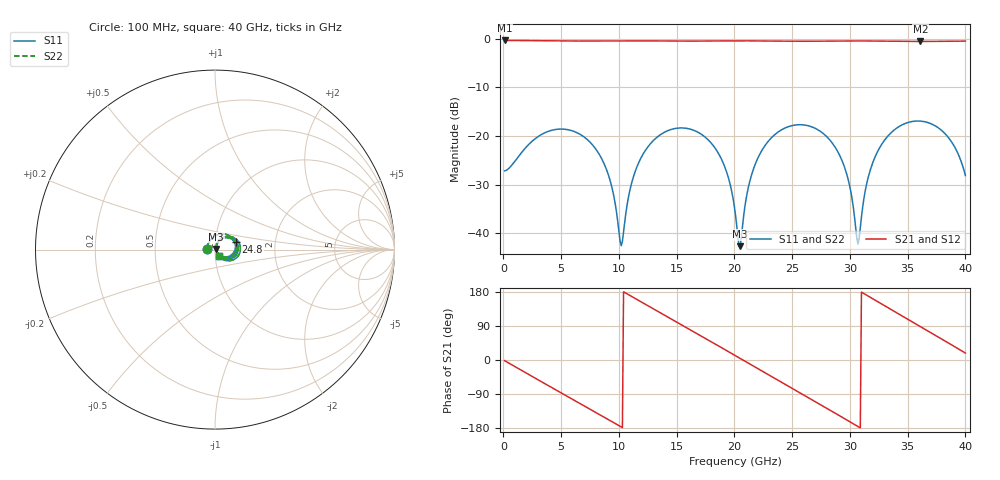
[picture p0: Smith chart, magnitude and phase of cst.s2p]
! thru_BV_vna_rf_hblb1_in: 2×thru F.Cu, 8 mm
! stackup: as the board case
! ports: 1 near, 2 far
! CST Studio Suite 2025.5 Release from 2025-05-30, time domain (FIT, hexahedral, PBA), 220374 mesh cells, 44 s
! mesh: {'lpw': 20, 'lpb': 20, 'minstep': 0.0, 'ratio': 20}; ports: port 1 (face); port 2 (face)
! interpolated from CST's 1001 samples to the case grid
# Hz S RI R 50
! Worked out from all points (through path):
!   400 points, 100 MHz to 40 GHz, reference 50 ohm
!   highest |S21| = -0.39 dB at 100 MHz (marker M1); lowest = -0.6 dB at 36.1 GHz (marker M2)
!   group delay of S21, straight-line fit = 48.7 ps
!   lowest |S11| = -42.6 dB at 20.5 GHz (marker M3), VSWR 1.01, Z = 50.7 + j0.283 ohm
!   |S11| at or under -10 dB: start of sweep to end of sweep
!   |S22| runs from -42.6 to -16.9 dB; largest |S21 - S12| = 2.2e-07
!   S11 on the Smith chart (normalised r, x): 100 MHz: 0.92, +0.01; 24.8 GHz: 1.26, +0.11; 40 GHz: 1.04, -0.07
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1e8  -0.0436 0.00481  0.9554 -0.0292  0.9554 -0.0292  -0.0436 0.00481
3.7e9  0.0763 0.0785  0.409 -0.8538  0.409 -0.8538  0.0763 0.0785
6.8e9  0.0982 -0.0242  -0.4375 -0.8356  -0.4375 -0.8356  0.0982 -0.0242
9e9  0.0288 -0.0316  -0.8628 -0.3904  -0.8628 -0.3904  0.0288 -0.0316
1.02e10  0.00736 0.00142  -0.9466 -0.0569  -0.9466 -0.0569  0.00736 0.00142
1.14e10  0.0147 0.0405  -0.9041 0.2853  -0.9041 0.2853  0.0147 0.0405
1.34e10  0.0747 0.0655  -0.5768 0.7476  -0.5768 0.7476  0.0747 0.0655
1.56e10  0.1203 0.01  0.00689 0.941  0.00689 0.941  0.1203 0.01
1.78e10  0.0764 -0.0466  0.5879 0.7377  0.5879 0.7377  0.0764 -0.0466
1.93e10  0.0267 -0.0344  0.8559 0.4029  0.8559 0.4029  0.0267 -0.0344
2.01e10  0.0103 -0.0112  0.929 0.1828  0.929 0.1828  0.0103 -0.0112
2.05e10  0.00686 0.00279  0.9446 0.0674  0.9446 0.0674  0.00686 0.00279
2.19e10  0.0223 0.0501  0.885 -0.333  0.885 -0.333  0.0223 0.0501
2.48e10  0.1179 0.0446  0.2978 -0.8902  0.2978 -0.8902  0.1179 0.0446
2.67e10  0.1218 -0.0236  -0.2379 -0.9075  -0.2379 -0.9075  0.1218 -0.0236
2.94e10  0.0323 -0.0419  -0.8359 -0.4382  -0.8359 -0.4382  0.0323 -0.0419
3.07e10  0.00776 0.000886  -0.9423 -0.073  -0.9423 -0.073  0.00776 0.000886
3.17e10  0.0153 0.0394  -0.9181 0.2204  -0.9181 0.2204  0.0153 0.0394
3.34e10  0.0722 0.0737  -0.6769 0.6513  -0.6769 0.6513  0.0722 0.0737
3.61e10  0.1422 0.000794  0.0288 0.9328  0.0288 0.9328  0.1422 0.000794
3.85e10  0.0749 -0.0622  0.6577 0.6684  0.6577 0.6684  0.0749 -0.0622
4e10  0.0205 -0.0336  0.8939 0.2956  0.8939 0.2956  0.0205 -0.0336
